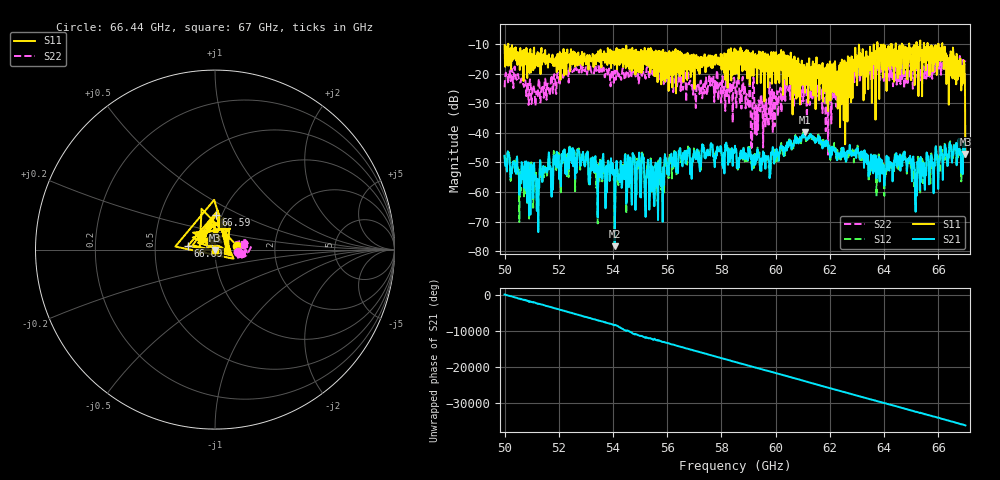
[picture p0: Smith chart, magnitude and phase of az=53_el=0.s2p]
!Created with skrf (http://scikit-rf.org).
# GHz S RI R 50.0
!freq ReS11 ImS11 ReS21 ImS21 ReS12 ImS12 ReS22 ImS22
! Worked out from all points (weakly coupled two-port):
!   1001 points, 50 GHz to 67 GHz, reference 50 ohm
!   highest |S21| = -39.78 dB at 61.07 GHz (marker M1); lowest = -78.3 dB at 54.06 GHz (marker M2)
!   lowest |S11| = -47.2 dB at 67 GHz (marker M3), VSWR 1.01, Z = 50.2 - j0.396 ohm
!   |S11| at or under -10 dB: 50.14 GHz to 63.75 GHz (13.61 GHz wide, 23.9 % of centre); 63.76 GHz to 64.25 GHz (490.2 MHz wide, 0.766 % of centre); 66.15 GHz to end of sweep (the widest 3 of 14)
!   |S22| runs from -47.3 to -14.0 dB; largest |S21 - S12| = 0.0022
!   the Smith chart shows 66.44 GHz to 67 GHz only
!   S11 on the Smith chart (normalised r, x): 66.44 GHz: 1.28, +0.06; 66.59 GHz: 0.93, +0.38; 66.69 GHz: 0.74, +0.03; 67 GHz: 1.00, -0.01
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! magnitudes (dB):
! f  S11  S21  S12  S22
! 50 GHz  -10.3  -47.7  -47.4  -24.6
! 51.19 GHz  -17.2  -66.4  -65.8  -26.0
! 51.89 GHz  -14.5  -48.7  -49.4  -26.2
! 52.84 GHz  -14.2  -49.0  -48.2  -19.6
! 54.06 GHz  -17.0  -78.3  -72.8  -19.0
! 55.68 GHz  -13.6  -50.0  -49.3  -22.1
! 56.24 GHz  -20.3  -48.7  -50.7  -23.3
! 58.5 GHz  -20.1  -44.4  -46.0  -24.2
! 59.62 GHz  -13.1  -52.2  -50.0  -38.2
! 60.39 GHz  -15.0  -44.3  -44.8  -22.6
! 61.07 GHz  -18.1  -39.8  -40.5  -21.3
! 61.34 GHz  -23.7  -40.9  -41.8  -25.8
! 62 GHz  -15.8  -46.5  -45.3  -24.5
! 62.56 GHz  -43.9  -48.9  -48.4  -19.8
! 63.01 GHz  -23.9  -46.3  -46.6  -20.2
! 64.18 GHz  -17.5  -52.0  -51.5  -18.6
! 65.23 GHz  -11.6  -49.7  -49.8  -17.9
! 66.44 GHz  -18.1  -44.5  -42.8  -17.8
! 66.59 GHz  -14.2  -44.4  -43.4  -16.0
! 66.69 GHz  -16.4  -49.0  -47.4  -15.5
! 66.9 GHz  -17.3  -54.0  -50.1  -15.4
! 67 GHz  -47.2  -48.0  -46.8  -15.5
